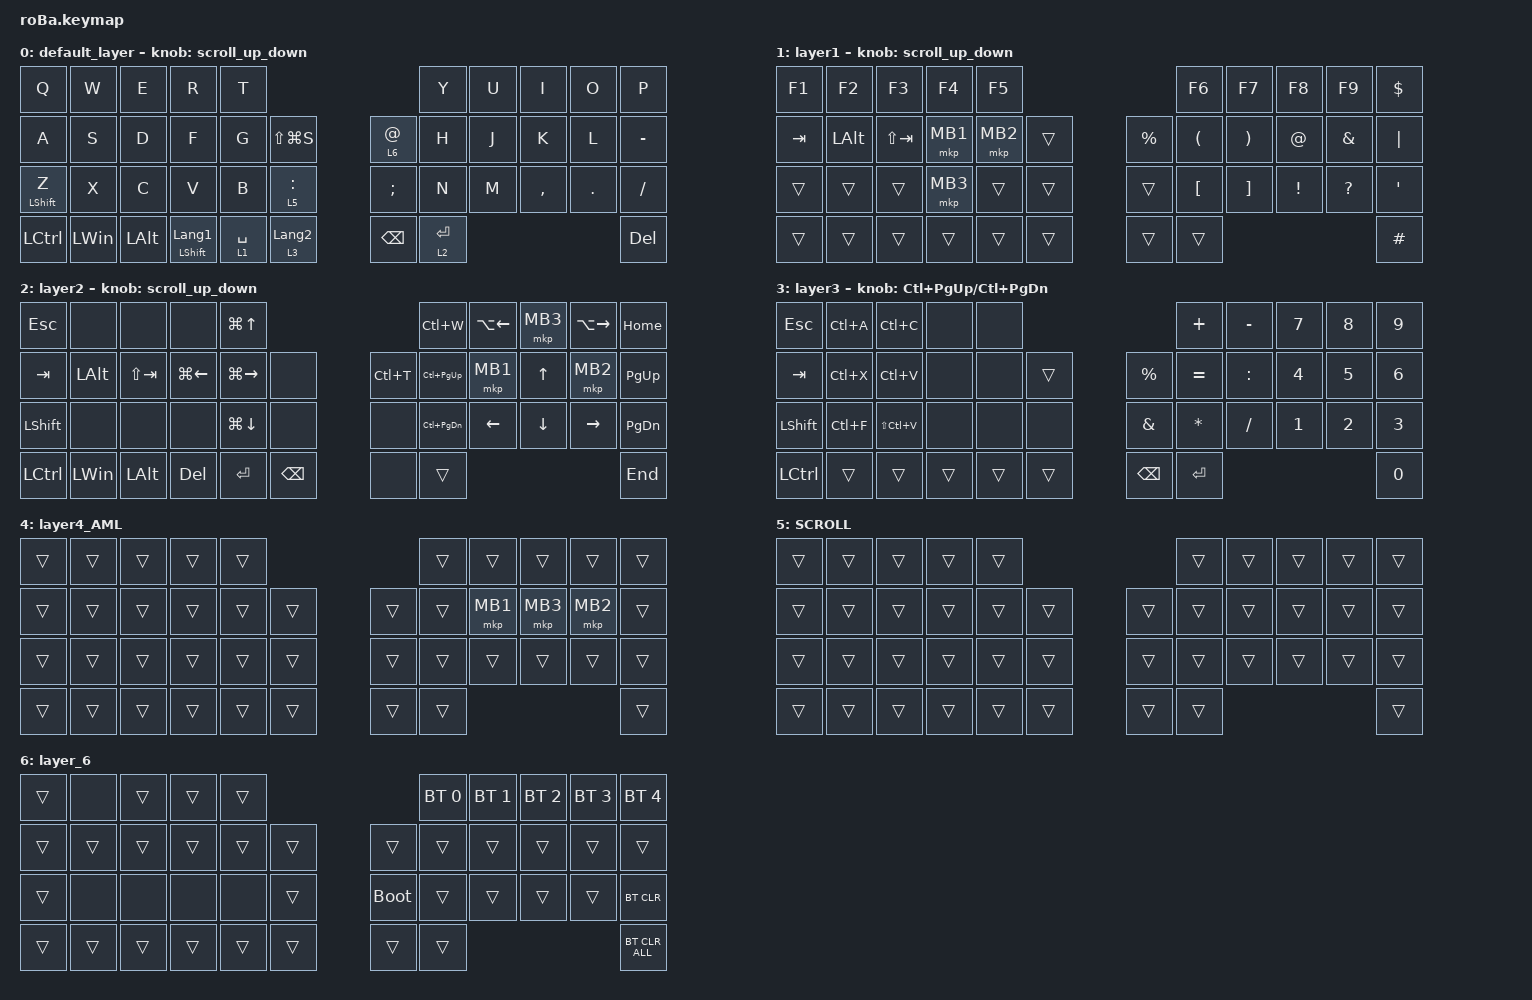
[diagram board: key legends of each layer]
#include <behaviors.dtsi>
#include <dt-bindings/zmk/bt.h>
#include <dt-bindings/zmk/keys.h>
#include <dt-bindings/zmk/mouse.h>

// #includeのあとのあたりにスクロール量を変更

#define ZMK_MOUSE_DEFAULT_SCRL_VAL 100
#define MOUSE 4
#define SCROLL 5
#define NUM 6

&mt {
    flavor = "balanced";
    quick-tap-ms = <0>;
};

/ {
    combos {
        compatible = "zmk,combos";

        tab {
            bindings = <&kp LG(TAB)>;
            key-positions = <11 12>;
        };

        shift_tab {
            bindings = <&kp LS(LG(TAB))>;
            key-positions = <12 13>;
        };

        muhennkann {
            bindings = <&to_layer_0 INT_MUHENKAN>;
            key-positions = <11 10>;
        };

        double_quotation {
            bindings = <&kp DOUBLE_QUOTES>;
            key-positions = <20 21>;
        };

        eq {
            bindings = <&kp EQUAL>;
            key-positions = <24 25>;
        };
    };

    macros {
        to_layer_0: to_layer_0 {
            compatible = "zmk,behavior-macro-one-param";
            #binding-cells = <1>;
            bindings = <&to 0 &macro_param_1to1 &kp MACRO_PLACEHOLDER>;
            label = "TO_LAYER_0";
        };
    };

    behaviors {
        lt_to_layer_0: lt_to_layer_0 {
            compatible = "zmk,behavior-hold-tap";
            label = "LAYER_TAP_TO_0";
            bindings = <&mo>, <&to_layer_0>;

            #binding-cells = <2>;
            tapping-term-ms = <200>;
        };

        scroll_up_down: rotate_mouse_wheel_up_down {
            compatible = "zmk,behavior-sensor-rotate";
            #sensor-binding-cells = <0>;
            bindings = <&msc SCRL_UP>, <&msc SCRL_DOWN>;

            // 追加: スクロールのタップ時間を設定 (20ms)

            tap-ms = <20>;
            label = "rotate_mouse_wheel_up_down";
        };
    };

    keymap {
        compatible = "zmk,keymap";

        default_layer {
            bindings = <
&kp Q             &kp W         &kp E         &kp R                      &kp T                                                      &kp Y        &kp U  &kp I      &kp O    &kp P
&kp A             &kp S         &kp D         &kp F                      &kp G        &kp LS(LG(S))                  &lt 6 AT_SIGN  &kp H        &kp J  &kp K      &kp L    &kp MINUS
&mt LEFT_SHIFT Z  &kp X         &kp C         &kp V                      &kp B        &lt_to_layer_0 5 COLON         &kp SEMICOLON  &kp N        &kp M  &kp COMMA  &kp DOT  &kp SLASH
&kp LCTRL         &kp LEFT_WIN  &kp LEFT_ALT  &mt LEFT_SHIFT LANGUAGE_1  &lt 1 SPACE  &lt_to_layer_0 3 LANGUAGE_2    &kp BACKSPACE  &lt 2 ENTER                             &kp DEL
            >;

            sensor-bindings = <&scroll_up_down>;
        };

        layer1 {
            bindings = <
&kp F1   &kp F2        &kp F3       &kp F4    &kp F5                           &kp F6                &kp F7                 &kp F8           &kp F9         &kp DOLLAR
&kp TAB  &kp LEFT_ALT  &kp LS(TAB)  &mkp MB1  &mkp MB2  &trans    &kp PERCENT  &kp LEFT_PARENTHESIS  &kp RIGHT_PARENTHESIS  &kp AT_SIGN      &kp AMPERSAND  &kp PIPE
&trans   &trans        &trans       &mkp MB3  &trans    &trans    &trans       &kp LEFT_BRACKET      &kp RIGHT_BRACKET      &kp EXCLAMATION  &kp QUESTION   &kp SQT
&trans   &trans        &trans       &trans    &trans    &trans    &trans       &trans                                                                       &kp HASH
            >;

            sensor-bindings = <&scroll_up_down>;
        };

        layer2 {
            bindings = <
&kp ESCAPE      &none         &none         &none               &kp LG(UP_ARROW)                                 &kp LC(W)          &kp LA(LEFT_ARROW)  &mkp MB3        &kp LA(RIGHT_ARROW)  &kp HOME
&kp TAB         &kp LEFT_ALT  &kp LS(TAB)   &kp LG(LEFT_ARROW)  &kp LG(RIGHT_ARROW)  &none            &kp LC(T)  &kp LC(PAGE_UP)    &mkp MB1            &kp UP_ARROW    &mkp MB2             &kp PAGE_UP
&kp LEFT_SHIFT  &none         &none         &none               &kp LG(DOWN_ARROW)   &none            &none      &kp LC(PAGE_DOWN)  &kp LEFT_ARROW      &kp DOWN_ARROW  &kp RIGHT_ARROW      &kp PAGE_DOWN
&kp LCTRL       &kp LEFT_WIN  &kp LEFT_ALT  &kp DELETE          &kp ENTER            &kp BACKSPACE    &none      &trans                                                                      &kp END
            >;

            sensor-bindings = <&scroll_up_down>;
        };

        layer3 {
            bindings = <
&kp ESCAPE      &kp LC(A)  &kp LC(C)      &none   &none                            &kp PLUS      &kp MINUS  &kp N7        &kp N8        &kp N9
&kp TAB         &kp LC(X)  &kp LC(V)      &none   &none   &trans    &kp PERCENT    &kp EQUAL     &kp COLON  &kp NUMBER_4  &kp N5        &kp NUMBER_6
&kp LEFT_SHIFT  &kp LC(F)  &kp LS(LC(V))  &none   &none   &none     &kp AMPERSAND  &kp ASTERISK  &kp SLASH  &kp NUMBER_1  &kp NUMBER_2  &kp NUMBER_3
&kp LCTRL       &trans     &trans         &trans  &trans  &trans    &kp BACKSPACE  &kp ENTER                                            &kp NUMBER_0
            >;

            sensor-bindings = <&inc_dec_kp LC(PAGE_UP) LC(PAGE_DOWN)>;
        };

        layer4_AML {
            bindings = <
&trans  &trans  &trans  &trans  &trans                    &trans  &trans    &trans    &trans    &trans
&trans  &trans  &trans  &trans  &trans  &trans    &trans  &trans  &mkp MB1  &mkp MB3  &mkp MB2  &trans
&trans  &trans  &trans  &trans  &trans  &trans    &trans  &trans  &trans    &trans    &trans    &trans
&trans  &trans  &trans  &trans  &trans  &trans    &trans  &trans                                &trans
            >;
        };

        SCROLL {
            bindings = <
&trans  &trans  &trans  &trans  &trans                    &trans  &trans  &trans  &trans  &trans
&trans  &trans  &trans  &trans  &trans  &trans    &trans  &trans  &trans  &trans  &trans  &trans
&trans  &trans  &trans  &trans  &trans  &trans    &trans  &trans  &trans  &trans  &trans  &trans
&trans  &trans  &trans  &trans  &trans  &trans    &trans  &trans                          &trans
            >;
        };

        layer_6 {
            bindings = <
&trans  &none   &trans  &trans  &trans                         &bt BT_SEL 0  &bt BT_SEL 1  &bt BT_SEL 2  &bt BT_SEL 3  &bt BT_SEL 4
&trans  &trans  &trans  &trans  &trans  &trans    &trans       &trans        &trans        &trans        &trans        &trans
&trans  &none   &none   &none   &none   &trans    &bootloader  &trans        &trans        &trans        &trans        &bt BT_CLR
&trans  &trans  &trans  &trans  &trans  &trans    &trans       &trans                                                  &bt BT_CLR_ALL
            >;
        };
    };
};
